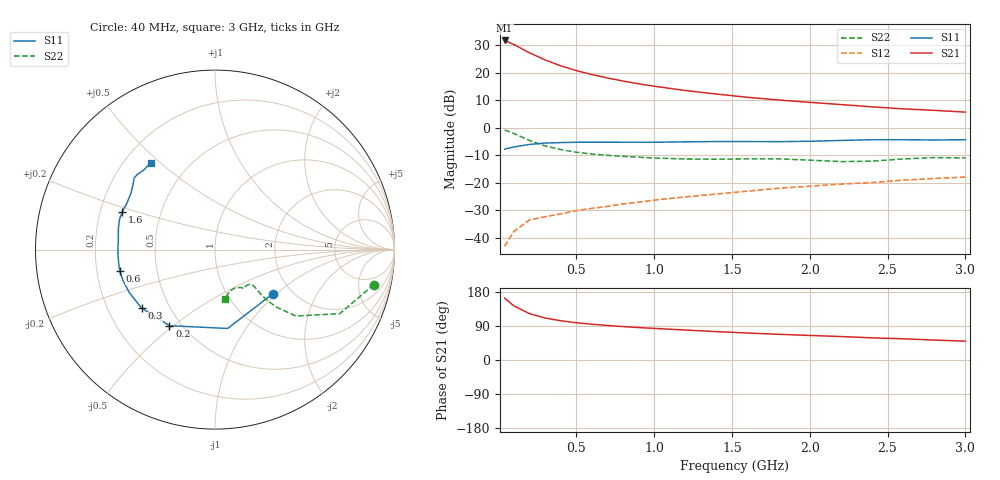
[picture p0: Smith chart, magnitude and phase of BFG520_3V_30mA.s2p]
! Filename:  BFG520F.S2P  Version:  2.1
! Philips part #: BFG520  Date: Feb 1992
! Bias condition: Vce=3V, Ic=30mA
! IN LINE PINNING: same data as with cross emitter pinning.
#  MHz  S  MA  R  50
! Freq  S11  S21  S12  S22  !GUM [dB]
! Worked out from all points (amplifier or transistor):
!   21 points, 40 MHz to 3 GHz, reference 50 ohm
!   highest |S21| = 31.7 dB at 40 MHz (marker M1)
!   |S21| within 3 dB of that: start of sweep to 150.3 MHz
!   unconditionally stable (mu >= 1): 627.5 MHz to end of sweep
!   at 300 MHz: K = 0.67, MSG = 28.5 dB, |S12| = -32.4 dB
!   at 1 GHz: K = 1.19, MAG = 18.1 dB, |S12| = -26.4 dB
!   at 3 GHz: K = 1.29, MAG = 8.6 dB, |S12| = -18.0 dB
!   S11 on the Smith chart (normalised r, x): 40 MHz: 1.60, -0.95; 200 MHz: 0.43, -0.48; 300 MHz: 0.35, -0.31; 600 MHz: 0.30, -0.10; 1.6 GHz: 0.29, +0.18; 3 GHz: 0.31, +0.47
40  0.405 -37.6  38.3 163.1  0.007 75.3  0.907 -12.4
100  0.445 -80.9  32.27 142.8  0.013 64.8  0.781 -27.2
200  0.494 -120.9  22.82 122.3  0.021 54.9  0.583 -39.4
300  0.523 -141.4  16.96 110.8  0.024 52.4  0.465 -43.3
400  0.534 -153.3  13.27 103.6  0.027 54.0  0.399 -44.2
500  0.541 -161.4  10.88 98.4  0.031 55.0  0.357 -44.3
600  0.544 -167.4  9.206 94.4  0.034 57.2  0.331 -43.7
700  0.542 -172.3  7.97 91.1  0.037 59.0  0.314 -43.5
800  0.541 -177.1  7.019 88.2  0.041 61.1  0.3 -43.2
900  0.541 178.5  6.255 85.6  0.044 63.2  0.29 -43.4
1000  0.541 174.6  5.65 83.4  0.048 64.8  0.28 -44.1
1200  0.551 167.7  4.721 79.1  0.055 66.4  0.269 -46.6
1400  0.558 162.5  4.07 74.9  0.062 67.7  0.266 -50.1
1600  0.558 157.8  3.553 71.2  0.07 69.7  0.27 -52.3
1800  0.555 152.0  3.172 67.8  0.079 69.5  0.27 -53.4
2000  0.564 146.1  2.871 64.8  0.086 70.9  0.256 -55.5
2200  0.584 141.4  2.622 61.9  0.094 71.0  0.241 -61.8
2400  0.602 138.4  2.383 58.5  0.1 72.0  0.245 -70.4
2600  0.602 135.8  2.189 56.0  0.111 71.6  0.269 -76.2
2800  0.595 131.8  2.055 52.6  0.119 69.8  0.285 -77.6
3000  0.602 126.5  1.912 49.8  0.126 70.8  0.281 -78.9
